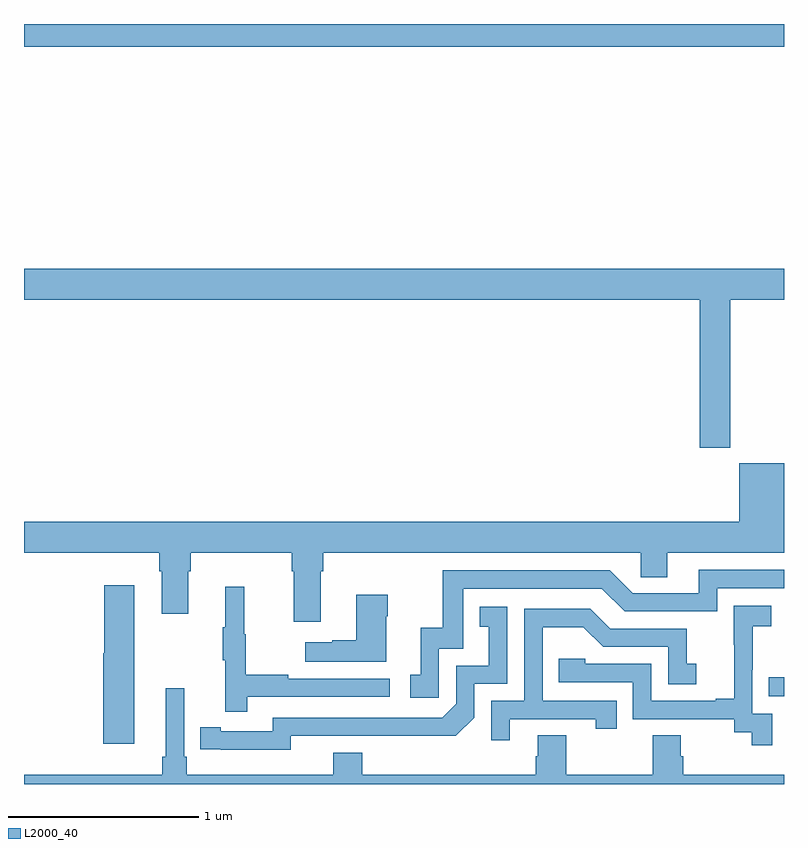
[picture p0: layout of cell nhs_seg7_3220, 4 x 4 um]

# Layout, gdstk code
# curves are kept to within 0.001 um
import gdstk
lib = gdstk.Library(unit=1e-6, precision=1e-09)
def R(c, l, rs):  # rectangles x0, y0, x1, y1
    for r in rs: c.add(gdstk.rectangle(r[:2], r[2:], *l))
def P(c, l, *ps):  # polygons
    for p in ps: c.add(gdstk.Polygon(p, *l))
L2000_40 = (2000, 40)

nhs_seg7_3220 = lib.new_cell('nhs_seg7_3220')
R(nhs_seg7_3220, L2000_40, [(318.919,1066.461,319,1066.562), (315,1069.88,319,1070)])
P(nhs_seg7_3220, L2000_40, [(315,1068.548),(318.557,1068.548),(318.557,1067.769),(318.717,1067.769),(318.717,1068.548),(319,1068.548),(319,1068.712),(315,1068.712)],
  [(316.561,1067.12),(316.574,1067.12),(316.574,1067.216),(318.246,1067.216),(318.246,1067.089),(318.385,1067.089),(318.385,1067.216),(319,1067.216),(319,1067.689),(318.764,1067.689),(318.764,1067.38),(315,1067.38),(315,1067.216),(315.713,1067.216),(315.713,1067.12),(315.725,1067.12),(315.725,1066.896),(315.865,1066.896),(315.865,1067.12),(315.878,1067.12),(315.878,1067.216),(316.409,1067.216),(316.409,1067.12),(316.421,1067.12),(316.421,1066.854),(316.561,1066.854)],
  [(317.184,1066.713),(317.313,1066.713),(317.313,1067.028),(318.042,1067.028),(318.162,1066.908),(318.648,1066.908),(318.648,1067.031),(319,1067.031),(319,1067.127),(318.551,1067.127),(318.551,1067.004),(318.204,1067.004),(318.084,1067.124),(317.205,1067.124),(317.205,1066.822),(317.087,1066.822),(317.087,1066.575),(317.034,1066.575),(317.034,1066.455),(317.184,1066.455)],
  [(315.58,1067.047),(315.422,1067.047),(315.422,1066.689),(315.416,1066.689),(315.416,1066.212),(315.58,1066.212)],
  [(316.175,1066.458),(316.924,1066.458),(316.924,1066.554),(316.391,1066.554),(316.391,1066.574),(316.168,1066.574),(316.168,1066.788),(316.16,1066.788),(316.16,1067.038),(316.058,1067.038),(316.058,1066.825),(316.047,1066.825),(316.047,1066.651),(316.058,1066.651),(316.058,1066.38),(316.175,1066.38)],
  [(316.906,1066.883),(316.914,1066.883),(316.914,1066.996),(316.748,1066.996),(316.748,1066.757),(316.622,1066.757),(316.622,1066.747),(316.479,1066.747),(316.479,1066.643),(316.906,1066.643)],
  [(318.939,1066.371),(318.834,1066.371),(318.834,1066.601),(318.836,1066.601),(318.836,1066.829),(318.934,1066.829),(318.934,1066.939),(318.736,1066.939),(318.736,1066.733),(318.737,1066.733),(318.737,1066.45),(318.641,1066.45),(318.641,1066.437),(318.3,1066.437),(318.3,1066.632),(317.955,1066.632),(317.955,1066.659),(317.815,1066.659),(317.815,1066.536),(318.204,1066.536),(318.204,1066.341),(318.738,1066.341),(318.738,1066.273),(318.831,1066.273),(318.831,1066.203),(318.939,1066.203)],
  [(316.404,1066.254),(317.272,1066.253),(317.37,1066.35),(317.37,1066.527),(317.544,1066.527),(317.544,1066.933),(317.398,1066.933),(317.398,1066.827),(317.447,1066.827),(317.447,1066.623),(317.274,1066.623),(317.274,1066.422),(317.202,1066.35),(316.308,1066.35),(316.308,1066.278),(316.036,1066.278),(316.036,1066.298),(315.928,1066.298),(315.928,1066.182),(316.404,1066.181)],
  [(317.557,1066.341),(318.008,1066.341),(318.008,1066.29),(318.119,1066.29),(318.119,1066.437),(317.73,1066.437),(317.73,1066.826),(317.944,1066.826),(318.048,1066.722),(318.39,1066.722),(318.39,1066.524),(318.538,1066.524),(318.538,1066.633),(318.489,1066.633),(318.489,1066.818),(318.085,1066.818),(317.98,1066.923),(317.634,1066.923),(317.634,1066.437),(317.46,1066.437),(317.46,1066.23),(317.557,1066.23)],
  [(319,1066.048),(318.47,1066.048),(318.47,1066.146),(318.457,1066.146),(318.457,1066.256),(318.31,1066.256),(318.31,1066.048),(317.853,1066.048),(317.853,1066.256),(317.705,1066.256),(317.705,1066.146),(317.693,1066.146),(317.693,1066.048),(316.781,1066.048),(316.781,1066.165),(316.628,1066.165),(316.628,1066.048),(315.857,1066.048),(315.857,1066.144),(315.843,1066.144),(315.843,1066.504),(315.746,1066.504),(315.746,1066.144),(315.727,1066.144),(315.727,1066.048),(315,1066.048),(315,1066),(319,1066)])

lib.write_gds('nhs_seg7_3220.gds')
